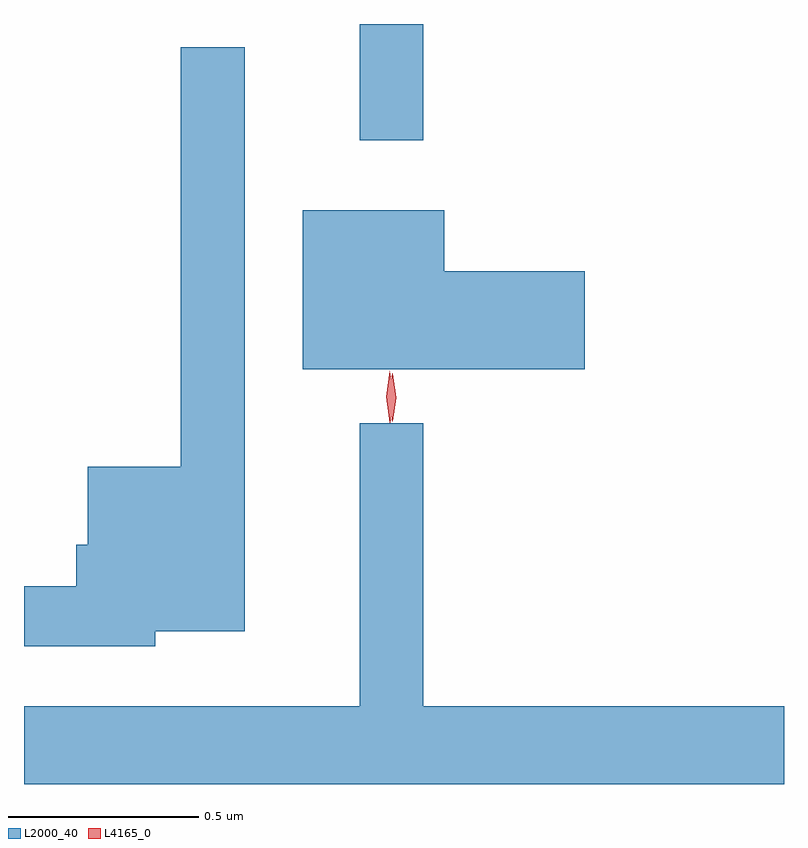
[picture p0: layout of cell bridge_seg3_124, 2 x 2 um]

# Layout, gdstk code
import gdstk
lib = gdstk.Library(unit=1e-6, precision=1e-09)
def R(c, l, rs):  # rectangles x0, y0, x1, y1
    for r in rs: c.add(gdstk.rectangle(r[:2], r[2:], *l))
def P(c, l, *ps):  # polygons
    for p in ps: c.add(gdstk.Polygon(p, *l))
L2000_40 = (2000, 40)
L4165_0 = (4165, 0)

bridge_seg3_124 = lib.new_cell('bridge_seg3_124')
R(bridge_seg3_124, L2000_40, [(1077.371,1196.593,1077.539,1196.899)])
P(bridge_seg3_124, L2000_40, [(1076.834,1195.301),(1077.069,1195.301),(1077.069,1196.838),(1076.901,1196.838),(1076.901,1195.734),(1076.656,1195.734),(1076.656,1195.529),(1076.626,1195.529),(1076.626,1195.419),(1076.488,1195.419),(1076.488,1195.261),(1076.834,1195.261)],
  [(1077.964,1196.249),(1077.594,1196.249),(1077.594,1196.409),(1077.221,1196.409),(1077.221,1195.991),(1077.964,1195.991)],
  [(1078.488,1195.104),(1077.539,1195.104),(1077.539,1195.848),(1077.371,1195.848),(1077.371,1195.104),(1076.488,1195.104),(1076.488,1194.899),(1078.488,1194.899)])
P(bridge_seg3_124, L4165_0, [(1077.451,1195.85),(1077.441,1195.918),(1077.45,1195.985),(1077.45,1195.986),(1077.451,1195.985),(1077.461,1195.918),(1077.452,1195.85),(1077.452,1195.85)],
  [(1077.457,1195.853),(1077.457,1195.853),(1077.447,1195.916),(1077.457,1195.979),(1077.457,1195.98),(1077.458,1195.979),(1077.467,1195.916),(1077.458,1195.853)])

lib.write_gds('bridge_seg3_124.gds')
